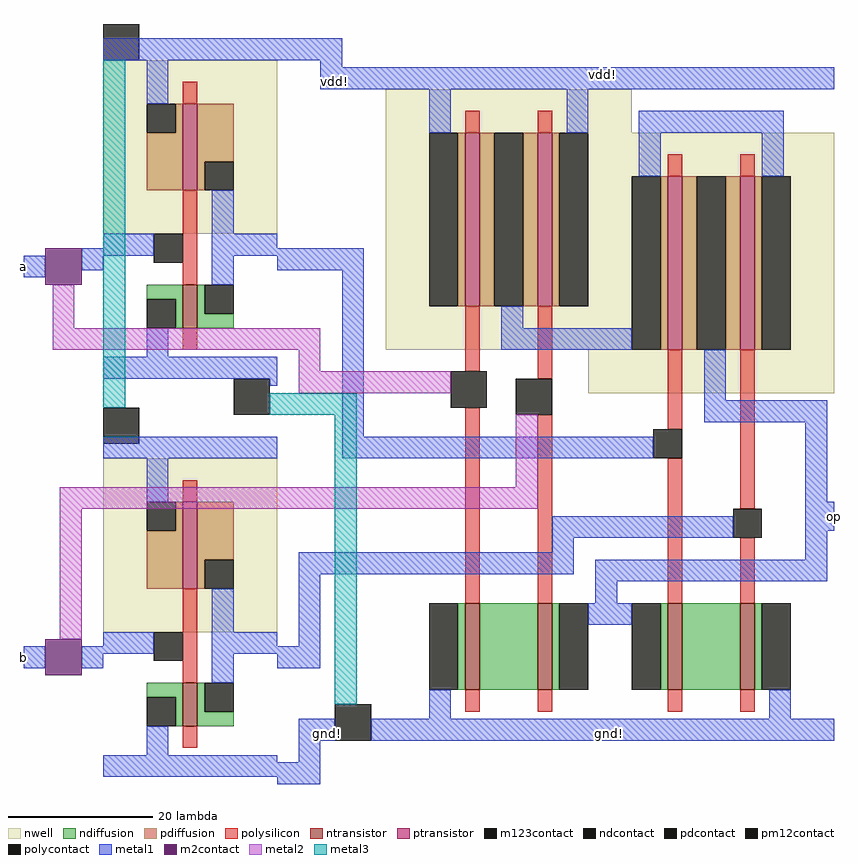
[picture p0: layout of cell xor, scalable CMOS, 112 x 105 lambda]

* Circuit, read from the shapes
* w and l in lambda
.subckt xor a b gnd! op vdd!
M1 inv_1/op b gnd! VSUBS nfet w=6 l=2
M2 inv_0/op a gnd! VSUBS nfet w=6 l=2
M3 n1 a gnd! VSUBS nfet w=12 l=2
M4 op b n1 VSUBS nfet w=12 l=2
M5 n2 inv_0/op op VSUBS nfet w=12 l=2
M6 gnd! inv_1/op n2 VSUBS nfet w=12 l=2
M7 inv_1/op b vdd! n3 pfet w=12 l=2
M8 inv_0/op a vdd! n4 pfet w=12 l=2
M9 n5 a vdd! n6 pfet w=24 l=2
M10 vdd! b n5 n6 pfet w=24 l=2
M11 op inv_0/op n5 n6 pfet w=24 l=2
M12 n5 inv_1/op op n6 pfet w=24 l=2
.ends

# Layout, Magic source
magic
tech scmos
<< nwell >>
rect -3 34 31 40
rect -3 4 59 34
rect 25 -2 59 4
<< ntransistor >>
rect 8 -43 10 -31
rect 18 -43 20 -31
rect 36 -43 38 -31
rect 46 -43 48 -31
<< ptransistor >>
rect 8 10 10 34
rect 18 10 20 34
rect 36 4 38 28
rect 46 4 48 28
<< ndiffusion >>
rect 7 -43 8 -31
rect 10 -43 18 -31
rect 20 -43 21 -31
rect 35 -43 36 -31
rect 38 -43 46 -31
rect 48 -43 49 -31
<< pdiffusion >>
rect 7 10 8 34
rect 10 10 12 34
rect 16 10 18 34
rect 20 10 21 34
rect 35 4 36 28
rect 38 4 40 28
rect 44 4 46 28
rect 48 4 49 28
<< ndcontact >>
rect 3 -43 7 -31
rect 21 -43 25 -31
rect 31 -43 35 -31
rect 49 -43 53 -31
<< pdcontact >>
rect 3 10 7 34
rect 12 10 16 34
rect 21 10 25 34
rect 31 4 35 28
rect 40 4 44 28
rect 49 4 53 28
<< polysilicon >>
rect 8 34 10 37
rect 18 34 20 37
rect 36 28 38 31
rect 46 28 48 31
rect 8 1 10 10
rect 18 0 20 10
rect 8 -31 10 -4
rect 18 -31 20 -5
rect 36 -7 38 4
rect 36 -31 38 -11
rect 46 -18 48 4
rect 46 -31 48 -22
rect 8 -46 10 -43
rect 18 -46 20 -43
rect 36 -46 38 -43
rect 46 -46 48 -43
<< polycontact >>
rect 34 -11 38 -7
rect 45 -22 49 -18
<< metal1 >>
rect -18 44 -9 47
rect -12 43 -9 44
rect -12 40 59 43
rect 3 34 6 40
rect 22 34 25 40
rect -53 14 -50 17
rect -45 15 -42 18
rect -18 15 -6 18
rect -19 -1 -18 0
rect -9 -8 -6 15
rect 32 34 52 37
rect 32 28 35 34
rect 49 28 52 34
rect 13 7 16 10
rect 13 4 31 7
rect 41 -3 44 4
rect 41 -6 58 -3
rect -9 -11 34 -8
rect 55 -17 58 -6
rect 20 -22 45 -19
rect 55 -21 59 -17
rect 20 -24 23 -22
rect -15 -27 23 -24
rect 55 -25 58 -21
rect -53 -40 -50 -37
rect -15 -37 -12 -27
rect 26 -28 58 -25
rect 26 -31 29 -28
rect -45 -40 -42 -37
rect -18 -40 -12 -37
rect 25 -34 31 -31
rect -15 -50 -10 -47
rect 3 -47 6 -43
rect 50 -47 53 -43
rect -5 -50 59 -47
rect -15 -53 -12 -50
rect -18 -56 -12 -53
<< m2contact >>
rect -50 13 -45 18
rect -50 -41 -45 -36
<< pm12contact >>
rect 6 -4 11 1
rect 15 -5 20 0
<< metal2 >>
rect -49 7 -46 13
rect -49 4 -12 7
rect -15 1 -12 4
rect -15 -2 6 1
rect 15 -15 18 -5
rect -48 -18 18 -15
rect -48 -36 -45 -18
<< m123contact >>
rect -42 44 -37 49
rect -42 -9 -37 -4
rect -24 -5 -19 0
rect -10 -50 -5 -45
<< metal3 >>
rect -42 -4 -39 44
rect -19 -5 -7 -2
rect -10 -45 -7 -5
use inv  inv_0
transform 1 0 -42 0 1 14
box 0 -15 24 33
use inv  inv_1
transform 1 0 -42 0 1 -41
box 0 -15 24 33
<< labels >>
rlabel metal1 28 -49 28 -49 1 gnd!
rlabel metal1 27 42 27 42 5 vdd!
rlabel metal1 59 -21 59 -17 7 op
rlabel metal1 -10 41 -10 41 1 vdd!
rlabel metal1 -11 -49 -11 -49 1 gnd!
rlabel metal1 -53 -40 -53 -37 3 b
rlabel metal1 -53 14 -53 17 3 a
<< end >>

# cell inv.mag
magic
tech scmos
<< nwell >>
rect 0 6 24 30
<< ntransistor >>
rect 11 -7 13 -1
<< ptransistor >>
rect 11 12 13 24
<< ndiffusion >>
rect 6 -3 11 -1
rect 10 -7 11 -3
rect 13 -5 14 -1
rect 13 -7 18 -5
<< pdiffusion >>
rect 10 20 11 24
rect 6 12 11 20
rect 13 16 18 24
rect 13 12 14 16
<< ndcontact >>
rect 6 -7 10 -3
rect 14 -5 18 -1
<< pdcontact >>
rect 6 20 10 24
rect 14 12 18 16
<< polysilicon >>
rect 11 24 13 27
rect 11 -1 13 12
rect 11 -10 13 -7
<< polycontact >>
rect 7 2 11 6
<< metal1 >>
rect 0 30 24 33
rect 6 24 9 30
rect 15 6 18 12
rect 0 3 7 6
rect 15 3 24 6
rect 15 -1 18 3
rect 6 -11 9 -7
rect 0 -14 24 -11
<< labels >>
rlabel metal1 14 31 14 31 5 vdd!
rlabel metal1 24 3 24 6 7 op
rlabel metal1 0 3 0 6 3 in
rlabel metal1 20 -13 20 -13 1 gnd!
<< end >>
